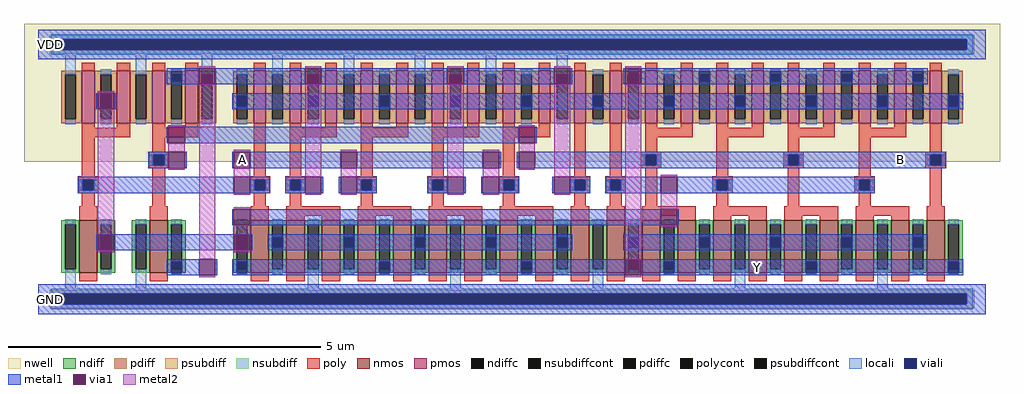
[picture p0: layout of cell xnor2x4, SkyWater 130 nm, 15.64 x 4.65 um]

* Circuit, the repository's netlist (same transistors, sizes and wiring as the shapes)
** sch_path: /foss/designs/xnor2x4.sch
.subckt xnor2x4 A B Y VDD GND
*.PININFO A:I B:I Y:O VDD:B GND:B
XM9 Abar A GND GND sky130_fd_pr__nfet_01v8 L=0.29 W=0.84 nf=1
XM10 Abar A VDD VDD sky130_fd_pr__pfet_01v8 L=0.21 W=1.68 nf=2
XM2 Y A net1 GND sky130_fd_pr__nfet_01v8 L=0.29 W=4.2 nf=5
XM5 net3 A VDD VDD sky130_fd_pr__pfet_01v8 L=0.19 W=4.2 nf=5
XM12 Bbar B VDD VDD sky130_fd_pr__pfet_01v8 L=0.21 W=1.68 nf=2
XM11 Bbar B GND GND sky130_fd_pr__nfet_01v8 L=0.29 W=0.84 nf=1
XM1 net1 Bbar GND GND sky130_fd_pr__nfet_01v8 L=0.29 W=4.2 nf=5
XM3 net2 Abar GND GND sky130_fd_pr__nfet_01v8 L=0.29 W=4.2 nf=5
XM4 Y B net2 GND sky130_fd_pr__nfet_01v8 L=0.29 W=4.2 nf=5
XM6 Y B net3 VDD sky130_fd_pr__pfet_01v8 L=0.19 W=4.2 nf=5
XM8 Y Abar net3 VDD sky130_fd_pr__pfet_01v8 L=0.19 W=4.2 nf=5
XM7 net3 Bbar VDD VDD sky130_fd_pr__pfet_01v8 L=0.19 W=4.2 nf=5
.ends

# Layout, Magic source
magic
tech sky130A
magscale 1 2
<< nwell >>
rect -46 440 3082 882
<< nmos >>
rect 131 84 189 252
rect 357 84 415 252
rect 681 84 739 252
rect 795 84 853 252
rect 909 84 967 252
rect 1023 84 1081 252
rect 1137 84 1195 252
rect 1251 84 1309 252
rect 1365 84 1423 252
rect 1479 84 1537 252
rect 1593 84 1651 252
rect 1707 84 1765 252
rect 1821 84 1879 252
rect 1935 84 1993 252
rect 2049 84 2107 252
rect 2163 84 2221 252
rect 2277 84 2335 252
rect 2391 84 2449 252
rect 2505 84 2563 252
rect 2619 84 2677 252
rect 2733 84 2791 252
rect 2847 84 2905 252
<< pmos >>
rect 139 564 181 732
rect 252 564 294 732
rect 365 564 407 732
rect 471 564 513 732
rect 691 564 729 732
rect 805 564 843 732
rect 919 564 957 732
rect 1033 564 1071 732
rect 1147 564 1185 732
rect 1261 564 1299 732
rect 1375 564 1413 732
rect 1489 564 1527 732
rect 1603 564 1641 732
rect 1717 564 1755 732
rect 1831 564 1869 732
rect 1945 564 1983 732
rect 2059 564 2097 732
rect 2173 564 2211 732
rect 2287 564 2325 732
rect 2401 564 2439 732
rect 2515 564 2553 732
rect 2629 564 2667 732
rect 2743 564 2781 732
rect 2857 564 2895 732
<< ndiff >>
rect 74 240 131 252
rect 74 96 86 240
rect 120 96 131 240
rect 74 84 131 96
rect 189 240 246 252
rect 189 96 200 240
rect 234 96 246 240
rect 189 84 246 96
rect 300 240 357 252
rect 300 96 312 240
rect 346 96 357 240
rect 300 84 357 96
rect 415 240 472 252
rect 415 96 426 240
rect 460 96 472 240
rect 415 84 472 96
rect 624 240 681 252
rect 624 96 636 240
rect 670 96 681 240
rect 624 84 681 96
rect 739 240 795 252
rect 739 96 750 240
rect 784 96 795 240
rect 739 84 795 96
rect 853 240 909 252
rect 853 96 864 240
rect 898 96 909 240
rect 853 84 909 96
rect 967 240 1023 252
rect 967 96 978 240
rect 1012 96 1023 240
rect 967 84 1023 96
rect 1081 240 1137 252
rect 1081 96 1092 240
rect 1126 96 1137 240
rect 1081 84 1137 96
rect 1195 240 1251 252
rect 1195 96 1206 240
rect 1240 96 1251 240
rect 1195 84 1251 96
rect 1309 240 1365 252
rect 1309 96 1320 240
rect 1354 96 1365 240
rect 1309 84 1365 96
rect 1423 240 1479 252
rect 1423 96 1434 240
rect 1468 96 1479 240
rect 1423 84 1479 96
rect 1537 240 1593 252
rect 1537 96 1548 240
rect 1582 96 1593 240
rect 1537 84 1593 96
rect 1651 240 1707 252
rect 1651 96 1662 240
rect 1696 96 1707 240
rect 1651 84 1707 96
rect 1765 240 1821 252
rect 1765 96 1776 240
rect 1810 96 1821 240
rect 1765 84 1821 96
rect 1879 240 1935 252
rect 1879 96 1890 240
rect 1924 96 1935 240
rect 1879 84 1935 96
rect 1993 240 2049 252
rect 1993 96 2004 240
rect 2038 96 2049 240
rect 1993 84 2049 96
rect 2107 240 2163 252
rect 2107 96 2118 240
rect 2152 96 2163 240
rect 2107 84 2163 96
rect 2221 240 2277 252
rect 2221 96 2232 240
rect 2266 96 2277 240
rect 2221 84 2277 96
rect 2335 240 2391 252
rect 2335 96 2346 240
rect 2380 96 2391 240
rect 2335 84 2391 96
rect 2449 240 2505 252
rect 2449 96 2460 240
rect 2494 96 2505 240
rect 2449 84 2505 96
rect 2563 240 2619 252
rect 2563 96 2574 240
rect 2608 96 2619 240
rect 2563 84 2619 96
rect 2677 240 2733 252
rect 2677 96 2688 240
rect 2722 96 2733 240
rect 2677 84 2733 96
rect 2791 240 2847 252
rect 2791 96 2802 240
rect 2836 96 2847 240
rect 2791 84 2847 96
rect 2905 240 2962 252
rect 2905 96 2916 240
rect 2950 96 2962 240
rect 2905 84 2962 96
<< pdiff >>
rect 74 720 139 732
rect 74 576 86 720
rect 120 576 139 720
rect 74 564 139 576
rect 181 720 252 732
rect 181 576 200 720
rect 234 576 252 720
rect 181 564 252 576
rect 294 720 365 732
rect 294 576 312 720
rect 346 576 365 720
rect 294 564 365 576
rect 407 720 471 732
rect 407 576 426 720
rect 460 576 471 720
rect 407 564 471 576
rect 513 720 570 732
rect 513 576 524 720
rect 558 576 570 720
rect 513 564 570 576
rect 624 720 691 732
rect 624 576 636 720
rect 670 576 691 720
rect 624 564 691 576
rect 729 720 805 732
rect 729 576 750 720
rect 784 576 805 720
rect 729 564 805 576
rect 843 720 919 732
rect 843 576 864 720
rect 898 576 919 720
rect 843 564 919 576
rect 957 720 1033 732
rect 957 576 978 720
rect 1012 576 1033 720
rect 957 564 1033 576
rect 1071 720 1147 732
rect 1071 576 1092 720
rect 1126 576 1147 720
rect 1071 564 1147 576
rect 1185 720 1261 732
rect 1185 576 1206 720
rect 1240 576 1261 720
rect 1185 564 1261 576
rect 1299 720 1375 732
rect 1299 576 1320 720
rect 1354 576 1375 720
rect 1299 564 1375 576
rect 1413 720 1489 732
rect 1413 576 1434 720
rect 1468 576 1489 720
rect 1413 564 1489 576
rect 1527 720 1603 732
rect 1527 576 1548 720
rect 1582 576 1603 720
rect 1527 564 1603 576
rect 1641 720 1717 732
rect 1641 576 1662 720
rect 1696 576 1717 720
rect 1641 564 1717 576
rect 1755 720 1831 732
rect 1755 576 1776 720
rect 1810 576 1831 720
rect 1755 564 1831 576
rect 1869 720 1945 732
rect 1869 576 1890 720
rect 1924 576 1945 720
rect 1869 564 1945 576
rect 1983 720 2059 732
rect 1983 576 2004 720
rect 2038 576 2059 720
rect 1983 564 2059 576
rect 2097 720 2173 732
rect 2097 576 2118 720
rect 2152 576 2173 720
rect 2097 564 2173 576
rect 2211 720 2287 732
rect 2211 576 2232 720
rect 2266 576 2287 720
rect 2211 564 2287 576
rect 2325 720 2401 732
rect 2325 576 2346 720
rect 2380 576 2401 720
rect 2325 564 2401 576
rect 2439 720 2515 732
rect 2439 576 2460 720
rect 2494 576 2515 720
rect 2439 564 2515 576
rect 2553 720 2629 732
rect 2553 576 2574 720
rect 2608 576 2629 720
rect 2553 564 2629 576
rect 2667 720 2743 732
rect 2667 576 2688 720
rect 2722 576 2743 720
rect 2667 564 2743 576
rect 2781 720 2857 732
rect 2781 576 2802 720
rect 2836 576 2857 720
rect 2781 564 2857 576
rect 2895 720 2962 732
rect 2895 576 2916 720
rect 2950 576 2962 720
rect 2895 564 2962 576
<< ndiffc >>
rect 86 96 120 240
rect 200 96 234 240
rect 312 96 346 240
rect 426 96 460 240
rect 636 96 670 240
rect 750 96 784 240
rect 864 96 898 240
rect 978 96 1012 240
rect 1092 96 1126 240
rect 1206 96 1240 240
rect 1320 96 1354 240
rect 1434 96 1468 240
rect 1548 96 1582 240
rect 1662 96 1696 240
rect 1776 96 1810 240
rect 1890 96 1924 240
rect 2004 96 2038 240
rect 2118 96 2152 240
rect 2232 96 2266 240
rect 2346 96 2380 240
rect 2460 96 2494 240
rect 2574 96 2608 240
rect 2688 96 2722 240
rect 2802 96 2836 240
rect 2916 96 2950 240
<< pdiffc >>
rect 86 576 120 720
rect 200 576 234 720
rect 312 576 346 720
rect 426 576 460 720
rect 524 576 558 720
rect 636 576 670 720
rect 750 576 784 720
rect 864 576 898 720
rect 978 576 1012 720
rect 1092 576 1126 720
rect 1206 576 1240 720
rect 1320 576 1354 720
rect 1434 576 1468 720
rect 1548 576 1582 720
rect 1662 576 1696 720
rect 1776 576 1810 720
rect 1890 576 1924 720
rect 2004 576 2038 720
rect 2118 576 2152 720
rect 2232 576 2266 720
rect 2346 576 2380 720
rect 2460 576 2494 720
rect 2574 576 2608 720
rect 2688 576 2722 720
rect 2802 576 2836 720
rect 2916 576 2950 720
<< psubdiff >>
rect 36 17 3000 29
rect 36 -17 60 17
rect 2976 -17 3000 17
rect 36 -29 3000 -17
<< nsubdiff >>
rect 36 833 3000 845
rect 36 799 60 833
rect 2976 799 3000 833
rect 36 787 3000 799
<< psubdiffcont >>
rect 60 -17 2976 17
<< nsubdiffcont >>
rect 60 799 2976 833
<< poly >>
rect 139 732 181 758
rect 252 732 294 758
rect 365 732 407 758
rect 471 732 513 758
rect 691 732 729 758
rect 805 732 843 758
rect 919 732 957 758
rect 1033 732 1071 758
rect 1147 732 1185 758
rect 1261 732 1299 758
rect 1375 732 1413 758
rect 1489 732 1527 758
rect 1603 732 1641 758
rect 1717 732 1755 758
rect 1831 732 1869 758
rect 1945 732 1983 758
rect 2059 732 2097 758
rect 2173 732 2211 758
rect 2287 732 2325 758
rect 2401 732 2439 758
rect 2515 732 2553 758
rect 2629 732 2667 758
rect 2743 732 2781 758
rect 2857 732 2895 758
rect 139 549 181 564
rect 252 549 294 564
rect 139 519 294 549
rect 365 549 407 564
rect 471 549 513 564
rect 365 519 513 549
rect 139 393 181 519
rect 365 473 407 519
rect 353 463 419 473
rect 353 429 369 463
rect 403 429 419 463
rect 353 419 419 429
rect 127 383 193 393
rect 127 349 143 383
rect 177 349 193 383
rect 127 339 193 349
rect 139 297 181 339
rect 365 297 407 419
rect 691 393 729 564
rect 805 549 843 564
rect 919 549 957 564
rect 805 519 957 549
rect 1033 549 1071 564
rect 1147 549 1185 564
rect 1033 519 1185 549
rect 1261 549 1299 564
rect 1375 549 1413 564
rect 1261 519 1413 549
rect 1489 549 1527 564
rect 1603 549 1641 564
rect 1489 519 1641 549
rect 805 393 843 519
rect 1033 393 1071 519
rect 1261 393 1299 519
rect 1489 393 1527 519
rect 1717 393 1755 564
rect 1831 393 1869 564
rect 1945 549 1983 564
rect 2059 549 2097 564
rect 1945 519 2097 549
rect 2173 549 2211 564
rect 2287 549 2325 564
rect 2173 519 2325 549
rect 2401 549 2439 564
rect 2515 549 2553 564
rect 2401 519 2553 549
rect 2629 549 2667 564
rect 2743 549 2781 564
rect 2629 519 2781 549
rect 1945 473 1983 519
rect 1931 463 1997 473
rect 1931 429 1947 463
rect 1981 429 1997 463
rect 1931 419 1997 429
rect 677 383 743 393
rect 677 349 693 383
rect 727 349 743 383
rect 677 339 743 349
rect 791 383 857 393
rect 791 349 807 383
rect 841 349 857 383
rect 791 339 857 349
rect 1019 383 1085 393
rect 1019 349 1035 383
rect 1069 349 1085 383
rect 1019 339 1085 349
rect 1247 383 1313 393
rect 1247 349 1263 383
rect 1297 349 1313 383
rect 1247 339 1313 349
rect 1475 383 1541 393
rect 1475 349 1491 383
rect 1525 349 1541 383
rect 1475 339 1541 349
rect 1703 383 1769 393
rect 1703 349 1719 383
rect 1753 349 1769 383
rect 1703 339 1769 349
rect 1817 383 1883 393
rect 1817 349 1833 383
rect 1867 349 1883 383
rect 1817 339 1883 349
rect 691 297 729 339
rect 805 297 843 339
rect 1033 297 1071 339
rect 1261 297 1299 339
rect 1489 297 1527 339
rect 1717 297 1755 339
rect 1831 297 1869 339
rect 1945 297 1983 419
rect 2173 393 2211 519
rect 2401 473 2439 519
rect 2387 463 2453 473
rect 2387 429 2403 463
rect 2437 429 2453 463
rect 2387 419 2453 429
rect 2159 383 2225 393
rect 2159 349 2175 383
rect 2209 349 2225 383
rect 2159 339 2225 349
rect 2173 297 2211 339
rect 2401 297 2439 419
rect 2629 393 2667 519
rect 2857 473 2895 564
rect 2843 463 2909 473
rect 2843 429 2859 463
rect 2893 429 2909 463
rect 2843 419 2909 429
rect 2615 383 2681 393
rect 2615 349 2631 383
rect 2665 349 2681 383
rect 2615 339 2681 349
rect 2629 297 2667 339
rect 2857 297 2895 419
rect 131 252 189 297
rect 357 252 415 297
rect 681 252 739 297
rect 795 267 967 297
rect 795 252 853 267
rect 909 252 967 267
rect 1023 267 1195 297
rect 1023 252 1081 267
rect 1137 252 1195 267
rect 1251 267 1423 297
rect 1251 252 1309 267
rect 1365 252 1423 267
rect 1479 267 1651 297
rect 1479 252 1537 267
rect 1593 252 1651 267
rect 1707 252 1765 297
rect 1821 252 1879 297
rect 1935 267 2107 297
rect 1935 252 1993 267
rect 2049 252 2107 267
rect 2163 267 2335 297
rect 2163 252 2221 267
rect 2277 252 2335 267
rect 2391 267 2563 297
rect 2391 252 2449 267
rect 2505 252 2563 267
rect 2619 267 2791 297
rect 2619 252 2677 267
rect 2733 252 2791 267
rect 2847 252 2905 297
rect 131 58 189 84
rect 357 58 415 84
rect 681 58 739 84
rect 795 58 853 84
rect 909 58 967 84
rect 1023 58 1081 84
rect 1137 58 1195 84
rect 1251 58 1309 84
rect 1365 58 1423 84
rect 1479 58 1537 84
rect 1593 58 1651 84
rect 1707 58 1765 84
rect 1821 58 1879 84
rect 1935 58 1993 84
rect 2049 58 2107 84
rect 2163 58 2221 84
rect 2277 58 2335 84
rect 2391 58 2449 84
rect 2505 58 2563 84
rect 2619 58 2677 84
rect 2733 58 2791 84
rect 2847 58 2905 84
<< polycont >>
rect 369 429 403 463
rect 143 349 177 383
rect 1947 429 1981 463
rect 693 349 727 383
rect 807 349 841 383
rect 1035 349 1069 383
rect 1263 349 1297 383
rect 1491 349 1525 383
rect 1719 349 1753 383
rect 1833 349 1867 383
rect 2403 429 2437 463
rect 2175 349 2209 383
rect 2859 429 2893 463
rect 2631 349 2665 383
<< locali >>
rect 42 833 2994 849
rect 42 799 60 833
rect 2976 799 2994 833
rect 42 783 2994 799
rect 86 720 120 783
rect 86 560 120 576
rect 200 720 234 736
rect 200 560 234 576
rect 312 720 346 783
rect 312 560 346 576
rect 426 731 460 736
rect 426 560 460 576
rect 524 720 558 783
rect 524 560 558 576
rect 636 720 670 736
rect 636 560 670 576
rect 750 720 784 783
rect 750 560 784 576
rect 864 720 898 736
rect 864 560 898 576
rect 978 720 1012 783
rect 978 560 1012 576
rect 1092 720 1126 736
rect 1092 560 1126 576
rect 1206 720 1240 783
rect 1206 560 1240 576
rect 1320 720 1354 736
rect 1320 560 1354 576
rect 1434 720 1468 783
rect 1434 560 1468 576
rect 1548 720 1582 736
rect 1548 560 1582 576
rect 1662 720 1696 783
rect 1662 560 1696 576
rect 1776 720 1810 736
rect 1776 560 1810 576
rect 1890 731 1924 736
rect 1890 560 1924 576
rect 2004 720 2038 736
rect 2004 560 2038 576
rect 2118 731 2152 736
rect 2118 560 2152 576
rect 2232 720 2266 736
rect 2232 560 2266 576
rect 2346 731 2380 736
rect 2346 560 2380 576
rect 2460 720 2494 736
rect 2460 560 2494 576
rect 2574 731 2608 736
rect 2574 560 2608 576
rect 2688 720 2722 736
rect 2688 560 2722 576
rect 2802 731 2836 736
rect 2802 560 2836 576
rect 2916 720 2950 736
rect 2916 560 2950 576
rect 353 429 369 463
rect 403 429 419 463
rect 1931 429 1947 463
rect 1981 429 1997 463
rect 2387 429 2403 463
rect 2437 429 2453 463
rect 2843 429 2859 463
rect 2893 429 2909 463
rect 127 349 143 383
rect 177 349 193 383
rect 677 349 693 383
rect 727 349 743 383
rect 791 349 807 383
rect 841 349 857 383
rect 1019 349 1035 383
rect 1069 349 1085 383
rect 1247 349 1263 383
rect 1297 349 1313 383
rect 1475 349 1491 383
rect 1525 349 1541 383
rect 1703 349 1719 383
rect 1753 349 1769 383
rect 1817 349 1833 383
rect 1867 349 1883 383
rect 2159 349 2175 383
rect 2209 349 2225 383
rect 2615 349 2631 383
rect 2665 349 2681 383
rect 86 240 120 256
rect 86 33 120 96
rect 200 240 234 256
rect 200 80 234 96
rect 312 240 346 256
rect 312 33 346 96
rect 426 240 460 256
rect 426 80 460 85
rect 636 240 670 256
rect 636 80 670 85
rect 750 240 784 256
rect 750 80 784 96
rect 864 240 898 256
rect 864 33 898 96
rect 978 240 1012 256
rect 978 80 1012 96
rect 1092 240 1126 256
rect 1092 80 1126 85
rect 1206 240 1240 256
rect 1206 80 1240 96
rect 1320 240 1354 256
rect 1320 33 1354 96
rect 1434 240 1468 256
rect 1434 80 1468 96
rect 1548 240 1582 256
rect 1548 80 1582 85
rect 1662 240 1696 256
rect 1662 80 1696 96
rect 1776 240 1810 256
rect 1776 33 1810 96
rect 1890 240 1924 256
rect 1890 80 1924 96
rect 2004 240 2038 256
rect 2004 80 2038 85
rect 2118 240 2152 256
rect 2118 80 2152 96
rect 2232 240 2266 256
rect 2232 33 2266 96
rect 2346 240 2380 256
rect 2346 80 2380 96
rect 2460 240 2494 256
rect 2460 80 2494 85
rect 2574 240 2608 256
rect 2574 80 2608 96
rect 2688 240 2722 256
rect 2688 33 2722 96
rect 2802 240 2836 256
rect 2802 80 2836 96
rect 2916 240 2950 256
rect 2916 80 2950 85
rect 42 17 2994 33
rect 42 -17 60 17
rect 2976 -17 2994 17
rect 42 -33 2994 -17
<< viali >>
rect 60 799 2976 833
rect 200 617 234 651
rect 426 720 460 731
rect 426 697 460 720
rect 636 617 670 651
rect 864 617 898 651
rect 1092 617 1126 651
rect 1320 617 1354 651
rect 1548 617 1582 651
rect 1776 617 1810 651
rect 1890 720 1924 731
rect 1890 697 1924 720
rect 2004 617 2038 651
rect 2118 720 2152 731
rect 2118 697 2152 720
rect 2232 617 2266 651
rect 2346 720 2380 731
rect 2346 697 2380 720
rect 2460 617 2494 651
rect 2574 720 2608 731
rect 2574 697 2608 720
rect 2688 617 2722 651
rect 2802 720 2836 731
rect 2802 697 2836 720
rect 2916 617 2950 651
rect 369 429 403 463
rect 1947 429 1981 463
rect 2403 429 2437 463
rect 2859 429 2893 463
rect 143 349 177 383
rect 693 349 727 383
rect 807 349 841 383
rect 1035 349 1069 383
rect 1263 349 1297 383
rect 1491 349 1525 383
rect 1719 349 1753 383
rect 1833 349 1867 383
rect 2175 349 2209 383
rect 2631 349 2665 383
rect 200 165 234 199
rect 426 96 460 119
rect 426 85 460 96
rect 636 96 670 119
rect 636 85 670 96
rect 750 165 784 199
rect 978 165 1012 199
rect 1092 96 1126 119
rect 1092 85 1126 96
rect 1206 165 1240 199
rect 1434 165 1468 199
rect 1548 96 1582 119
rect 1548 85 1582 96
rect 1662 165 1696 199
rect 1890 165 1924 199
rect 2004 96 2038 119
rect 2004 85 2038 96
rect 2118 165 2152 199
rect 2346 165 2380 199
rect 2460 96 2494 119
rect 2460 85 2494 96
rect 2574 165 2608 199
rect 2802 165 2836 199
rect 2916 96 2950 119
rect 2916 85 2950 96
rect 60 -17 2976 17
<< metal1 >>
rect 0 833 3036 864
rect 0 799 60 833
rect 2976 799 3036 833
rect 0 768 3036 799
rect 411 731 515 740
rect 411 697 426 731
rect 460 697 515 731
rect 411 688 515 697
rect 567 688 855 740
rect 907 688 1311 740
rect 1363 688 1653 740
rect 1705 688 1711 740
rect 1875 688 1881 740
rect 1933 731 2851 740
rect 1933 697 2118 731
rect 2152 697 2346 731
rect 2380 697 2574 731
rect 2608 697 2802 731
rect 2836 697 2851 731
rect 1933 688 2851 697
rect 185 608 191 660
rect 243 608 249 660
rect 621 651 2965 660
rect 621 617 636 651
rect 670 617 864 651
rect 898 617 1092 651
rect 1126 617 1320 651
rect 1354 617 1548 651
rect 1582 617 1776 651
rect 1810 617 2004 651
rect 2038 617 2232 651
rect 2266 617 2460 651
rect 2494 617 2688 651
rect 2722 617 2916 651
rect 2950 617 2965 651
rect 621 608 2965 617
rect 411 500 417 552
rect 469 500 1539 552
rect 1591 500 1597 552
rect 354 463 417 472
rect 354 429 369 463
rect 403 429 417 463
rect 354 420 417 429
rect 469 420 475 472
rect 621 420 627 472
rect 679 420 969 472
rect 1021 420 1425 472
rect 1477 420 1483 472
rect 1533 420 1539 472
rect 1591 463 2908 472
rect 1591 429 1947 463
rect 1981 429 2403 463
rect 2437 429 2859 463
rect 2893 429 2908 463
rect 1591 420 2908 429
rect 128 383 627 392
rect 128 349 143 383
rect 177 349 627 383
rect 128 340 627 349
rect 679 383 742 392
rect 679 349 693 383
rect 727 349 742 383
rect 679 340 742 349
rect 792 383 855 392
rect 792 349 807 383
rect 841 349 855 383
rect 792 340 855 349
rect 907 340 913 392
rect 963 340 969 392
rect 1021 383 1084 392
rect 1021 349 1035 383
rect 1069 349 1084 383
rect 1021 340 1084 349
rect 1248 383 1311 392
rect 1248 349 1263 383
rect 1297 349 1311 383
rect 1248 340 1311 349
rect 1363 340 1369 392
rect 1419 340 1425 392
rect 1477 383 1540 392
rect 1477 349 1491 383
rect 1525 349 1540 383
rect 1477 340 1540 349
rect 1647 340 1653 392
rect 1705 383 1768 392
rect 1705 349 1719 383
rect 1753 349 1768 383
rect 1705 340 1768 349
rect 1818 383 1995 392
rect 1818 349 1833 383
rect 1867 349 1995 383
rect 1818 340 1995 349
rect 2047 383 2680 392
rect 2047 349 2175 383
rect 2209 349 2631 383
rect 2665 349 2680 383
rect 2047 340 2680 349
rect 621 236 627 288
rect 679 236 1995 288
rect 2047 236 2053 288
rect 185 156 191 208
rect 243 156 627 208
rect 679 156 685 208
rect 735 199 1711 208
rect 735 165 750 199
rect 784 165 978 199
rect 1012 165 1206 199
rect 1240 165 1434 199
rect 1468 165 1662 199
rect 1696 165 1711 199
rect 735 156 1711 165
rect 1875 199 2851 208
rect 1875 165 1890 199
rect 1924 165 2118 199
rect 2152 165 2346 199
rect 2380 165 2574 199
rect 2608 165 2802 199
rect 2836 165 2851 199
rect 1875 156 2851 165
rect 411 119 515 128
rect 411 85 426 119
rect 460 85 515 119
rect 411 76 515 85
rect 567 76 573 128
rect 621 119 1881 128
rect 621 85 636 119
rect 670 85 1092 119
rect 1126 85 1548 119
rect 1582 85 1881 119
rect 621 76 1881 85
rect 1933 119 2965 128
rect 1933 85 2004 119
rect 2038 85 2460 119
rect 2494 85 2916 119
rect 2950 85 2965 119
rect 1933 76 2965 85
rect 0 17 3036 48
rect 0 -17 60 17
rect 2976 -17 3036 17
rect 0 -48 3036 -17
<< via1 >>
rect 515 688 567 740
rect 855 688 907 740
rect 1311 688 1363 740
rect 1653 688 1705 740
rect 1881 731 1933 740
rect 1881 697 1890 731
rect 1890 697 1924 731
rect 1924 697 1933 731
rect 1881 688 1933 697
rect 191 651 243 660
rect 191 617 200 651
rect 200 617 234 651
rect 234 617 243 651
rect 191 608 243 617
rect 417 500 469 552
rect 1539 500 1591 552
rect 417 420 469 472
rect 627 420 679 472
rect 969 420 1021 472
rect 1425 420 1477 472
rect 1539 420 1591 472
rect 627 340 679 392
rect 855 340 907 392
rect 969 340 1021 392
rect 1311 340 1363 392
rect 1425 340 1477 392
rect 1653 340 1705 392
rect 1995 340 2047 392
rect 627 236 679 288
rect 1995 236 2047 288
rect 191 199 243 208
rect 191 165 200 199
rect 200 165 234 199
rect 234 165 243 199
rect 191 156 243 165
rect 627 156 679 208
rect 515 76 567 128
rect 1881 76 1933 128
<< metal2 >>
rect 515 740 567 746
rect 191 660 243 666
rect 191 208 243 608
rect 417 552 469 558
rect 417 472 469 500
rect 417 414 469 420
rect 191 150 243 156
rect 515 128 567 688
rect 855 740 907 746
rect 627 472 679 478
rect 627 392 679 420
rect 627 334 679 340
rect 855 392 907 688
rect 1311 740 1363 746
rect 855 334 907 340
rect 969 472 1021 478
rect 969 392 1021 420
rect 969 334 1021 340
rect 1311 392 1363 688
rect 1653 740 1705 746
rect 1539 552 1591 558
rect 1311 334 1363 340
rect 1425 472 1477 478
rect 1425 392 1477 420
rect 1539 472 1591 500
rect 1539 414 1591 420
rect 1425 334 1477 340
rect 1653 392 1705 688
rect 1653 334 1705 340
rect 1881 740 1933 746
rect 627 288 679 294
rect 627 208 679 236
rect 627 150 679 156
rect 515 70 567 76
rect 1881 128 1933 688
rect 1995 392 2047 398
rect 1995 288 2047 340
rect 1995 230 2047 236
rect 1881 70 1933 76
<< labels >>
rlabel via1 630 423 676 469 0 A
port 1 nsew
rlabel metal1 2739 423 2785 469 0 B
port 2 nsew
rlabel metal1 2283 79 2329 125 0 Y
port 3 nsew
rlabel metal1 10 780 70 852 0 VDD
port 4 nsew
rlabel metal1 10 -36 70 36 0 GND
port 5 nsew
<< properties >>
string FIXED_BBOX 0 0 3036 816
<< end >>
